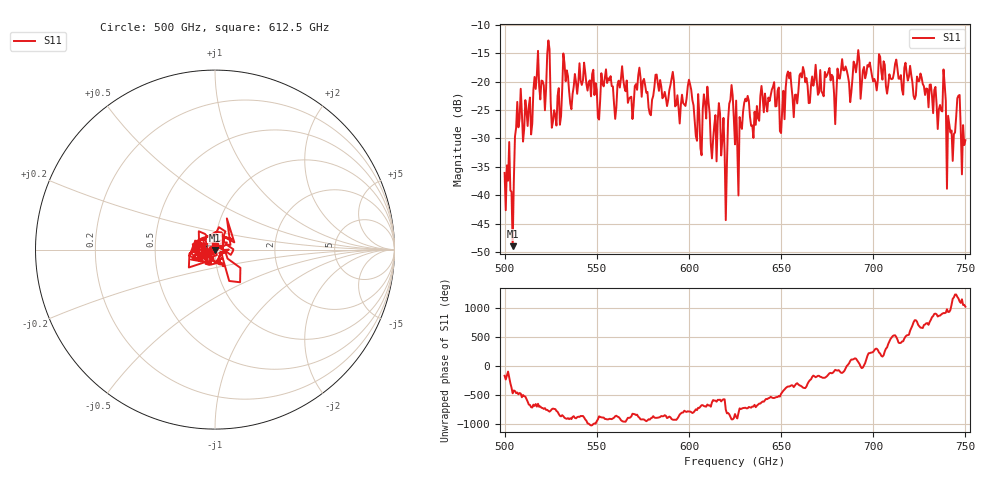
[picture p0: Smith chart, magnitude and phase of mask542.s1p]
!Created with skrf (http://scikit-rf.org).
# GHz S MA R 50.0
!freq magS11 angS11
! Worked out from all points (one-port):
!   401 points, 500 GHz to 750 GHz, reference 50 ohm
!   lowest |S11| = -48.9 dB at 504.4 GHz (marker M1), VSWR 1.01, Z = 49.9 - j0.335 ohm
!   |S11| at or under -10 dB: start of sweep to end of sweep
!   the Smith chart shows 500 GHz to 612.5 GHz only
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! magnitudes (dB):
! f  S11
! 500 GHz  -36.1
! 504.4 GHz  -48.9
! 507.5 GHz  -28.0
! 513.8 GHz  -22.8
! 516.9 GHz  -21.3
! 523.8 GHz  -12.8
! 526.9 GHz  -25.0
! 531.2 GHz  -21.4
! 562.5 GHz  -21.1
! 579.4 GHz  -25.9
! 590.6 GHz  -19.4
! 593.8 GHz  -22.4
! 600.6 GHz  -20.5
! 605.6 GHz  -25.8
! 609.4 GHz  -26.5
! 619.4 GHz  -32.4
! 622.5 GHz  -23.2
! 625 GHz  -31.0
! 627.5 GHz  -26.2
! 631.2 GHz  -23.5
! 635 GHz  -29.9
! 656.2 GHz  -22.9
! 687.5 GHz  -23.6
! 718.8 GHz  -19.8
! 738.1 GHz  -17.9
! 741.2 GHz  -27.5
! 746.2 GHz  -22.5
! 750 GHz  -30.3
